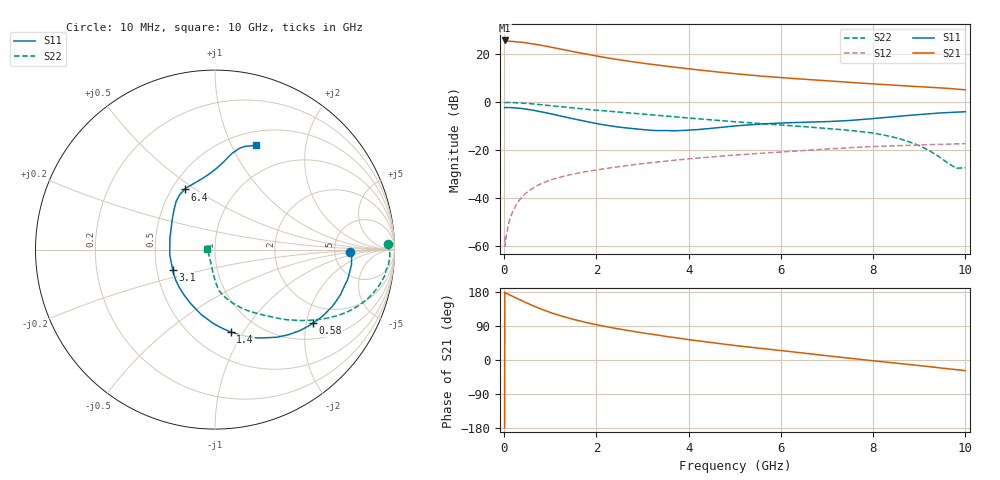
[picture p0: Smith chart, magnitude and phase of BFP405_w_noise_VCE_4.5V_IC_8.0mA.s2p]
! Infineon Technologies  Discrete & RF Semiconductors
! BFP405
! VCE =  4.5 V,  IC =  8.0 mA
! Common Emitter S-Parameters:  Jan 2016
# GHz  S  MA  R  50
!  f  S11  S21  S12  S22
! GHz  MAG  ANG  MAG  ANG  MAG  ANG  MAG  ANG
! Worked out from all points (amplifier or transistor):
!   233 points, 10 MHz to 10 GHz, reference 50 ohm
!   highest |S21| = 25.6 dB at 10 MHz (marker M1)
!   |S21| within 3 dB of that: start of sweep to 1.073 GHz
!   unconditionally stable (mu >= 1): start of sweep to 39.49 MHz; 2.901 GHz to end of sweep
!   at 200 MHz: K = 0.32, MSG = 35.1 dB, |S12| = -45.0 dB
!   at 1.74 GHz: K = 0.70, MSG = 24.6 dB, |S12| = -29.1 dB
!   at 10 GHz: K = 1.38, MAG = 7.5 dB, |S12| = -17.4 dB
!   lowest NFmin = 1.48 dB at 900 MHz
!   S11 on the Smith chart (normalised r, x): 10 MHz: 7.09, -0.43; 580 MHz: 1.43, -2.19; 1.4 GHz: 0.75, -0.88; 3.1 GHz: 0.61, -0.14; 6.4 GHz: 0.58, +0.45; 10 GHz: 0.66, +1.25
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0.01  0.7537 -1.0  18.96 -178.9  0.0016 -4.8  0.9663 1.9
0.02  0.7657 -0.8  18.69 177.0  0.001 32.3  0.968 0.2
0.05  0.7624 -3.1  18.37 176.0  0.0017 44.8  0.9738 -0.8
0.26  0.7467 -17.0  17.89 163.6  0.0072 74.1  0.9588 -7.1
0.4  0.7253 -26.0  17.33 155.4  0.0109 72.9  0.9452 -10.7
0.58  0.6828 -36.9  16.36 145.5  0.0151 70.1  0.9163 -15.0
0.7  0.6532 -43.8  15.68 139.4  0.0178 68.2  0.8947 -17.7
0.9  0.598 -54.7  14.48 129.8  0.0218 65.1  0.8556 -21.6
1.1  0.5433 -64.9  13.28 121.4  0.0253 62.4  0.8173 -25.0
1.4  0.4673 -79.2  11.61 110.4  0.0301 59.2  0.7629 -29.2
1.68  0.4092 -91.7  10.28 101.7  0.0341 56.9  0.718 -32.5
1.98  0.3582 -105.0  9.081 93.6  0.0382 54.9  0.6758 -35.5
2.26  0.3212 -117.4  8.167 86.9  0.0419 53.3  0.6405 -38.0
2.64  0.2876 -134.5  7.158 78.7  0.047 51.3  0.5972 -41.2
3.1  0.2607 -154.8  6.215 69.9  0.0533 48.6  0.5488 -45.1
3.4  0.2532 -168.5  5.711 64.4  0.0573 46.8  0.5182 -47.5
4  0.259 165.8  4.874 53.7  0.0654 43.1  0.4623 -52.6
5.1  0.3216 134.9  3.784 37.0  0.0796 35.7  0.3813 -62.3
6.4  0.3753 116.8  3.01 19.5  0.0965 27.2  0.311 -72.1
6.8  0.3839 109.9  2.827 14.1  0.102 24.2  0.2904 -75.1
8.4  0.4879 84.7  2.237 -7.1  0.1219 10.7  0.189 -88.2
10  0.6247 68.4  1.785 -28.1  0.1352 -1.8  0.0427 173.8
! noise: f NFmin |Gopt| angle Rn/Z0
0.9  1.48  0.25  8  0.32
1.8  1.74  0.19  10  0.3
2.4  1.86  0.16  14  0.3
3  1.88  0.12  33  0.28
4  2.05  0.03  -6  0.27
5  2.41  0.06  -110  0.26
